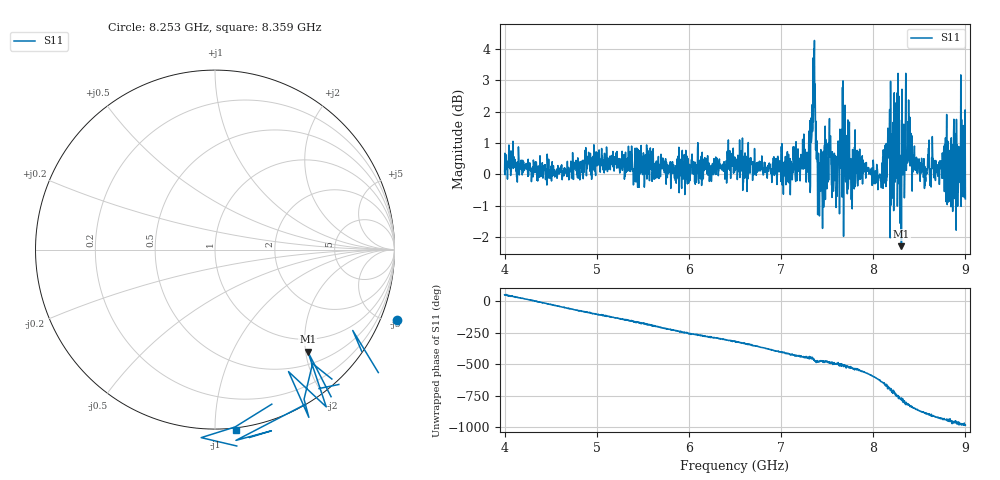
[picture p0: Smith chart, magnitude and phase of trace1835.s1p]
! Created with skrf 1.8.0 (http://scikit-rf.org).
# Hz S RI R 50.0
!freq ReS11 ImS11
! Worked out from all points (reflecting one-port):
!   1601 points, 4 GHz to 9 GHz, reference 50 ohm
!   lowest |S11| = -2.3 dB at 8.306 GHz (marker M1), VSWR 7.63, Z = 36.8 - j102 ohm
!   phase of S11 starts at 52 deg and turns -1036 deg over the sweep
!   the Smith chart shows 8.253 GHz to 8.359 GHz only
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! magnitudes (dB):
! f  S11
! 4 GHz  0.1
! 4.625 GHz  -0.2
! 5.25 GHz  0.0
! 5.875 GHz  0.0
! 6.5 GHz  0.3
! 7.125 GHz  0.3
! 7.294 GHz  0.1
! 7.319 GHz  -0.4
! 7.347 GHz  3.7
! 7.369 GHz  2.9
! 7.397 GHz  -1.3
! 7.425 GHz  0.4
! 7.512 GHz  1.0
! 7.588 GHz  0.6
! 7.669 GHz  0.9
! 7.75 GHz  -0.2
! 8.066 GHz  -0.1
! 8.253 GHz  0.7
! 8.284 GHz  1.7
! 8.306 GHz  -2.3
! 8.334 GHz  1.6
! 8.375 GHz  1.0
! 8.447 GHz  0.9
! 8.556 GHz  -0.4
! 8.788 GHz  -0.8
! 8.841 GHz  1.1
! 8.953 GHz  -1.0
! 9 GHz  -0.8
